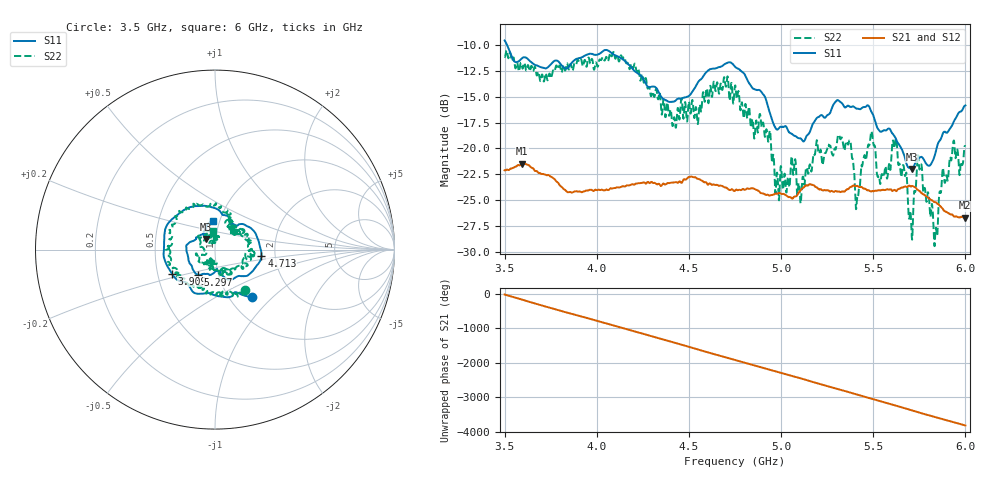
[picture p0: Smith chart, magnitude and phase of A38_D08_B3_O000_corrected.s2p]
! Created with skrf 1.9.0 (http://scikit-rf.org).
# Hz S RI R 50.0
!freq ReS11 ImS11 ReS21 ImS21 ReS12 ImS12 ReS22 ImS22
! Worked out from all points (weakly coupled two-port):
!   1601 points, 3.5 GHz to 6 GHz, reference 50 ohm
!   highest |S21| = -21.46 dB at 3.594 GHz (marker M1); lowest = -26.7 dB at 5.995 GHz (marker M2)
!   lowest |S11| = -22.0 dB at 5.709 GHz (marker M3), VSWR 1.17, Z = 44.7 + j5.35 ohm
!   |S11| at or under -10 dB: 3.514 GHz to end of sweep
!   |S22| runs from -29.5 to -10.5 dB; largest |S21 - S12| = 0.001
!   S11 on the Smith chart (normalised r, x): 3.5 GHz: 1.27, -0.75; 3.909 GHz: 0.59, -0.17; 4.713 GHz: 1.69, -0.12; 5.297 GHz: 0.80, -0.23; 6 GHz: 0.93, +0.31
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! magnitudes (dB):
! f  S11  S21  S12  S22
! 3.5 GHz  -9.5  -22.1  -22.1  -11.1
! 3.594 GHz  -11.3  -21.5  -21.5  -12.0
! 3.909 GHz  -11.2  -24.2  -24.1  -11.5
! 3.917 GHz  -11.2  -24.2  -24.2  -11.4
! 4.334 GHz  -14.5  -23.4  -23.4  -15.2
! 4.713 GHz  -11.7  -23.9  -23.9  -13.3
! 4.75 GHz  -12.1  -24.1  -24.0  -13.9
! 4.931 GHz  -16.1  -24.5  -24.5  -19.3
! 4.98 GHz  -18.2  -24.4  -24.4  -22.5
! 5.167 GHz  -17.8  -23.5  -23.5  -22.0
! 5.297 GHz  -15.4  -24.1  -24.1  -20.0
! 5.369 GHz  -15.9  -23.9  -23.8  -19.3
! 5.414 GHz  -16.1  -23.6  -23.6  -24.5
! 5.486 GHz  -16.3  -24.2  -24.1  -18.7
! 5.584 GHz  -18.1  -24.0  -24.0  -21.6
! 5.617 GHz  -18.9  -24.0  -24.0  -19.7
! 5.709 GHz  -22.0  -23.6  -23.6  -28.6
! 5.75 GHz  -20.9  -24.1  -24.1  -21.9
! 5.839 GHz  -20.3  -25.2  -25.2  -27.8
! 5.928 GHz  -17.8  -26.4  -26.4  -20.4
! 5.995 GHz  -15.9  -26.7  -26.6  -19.8
! 6 GHz  -15.8  -26.7  -26.7  -19.8
